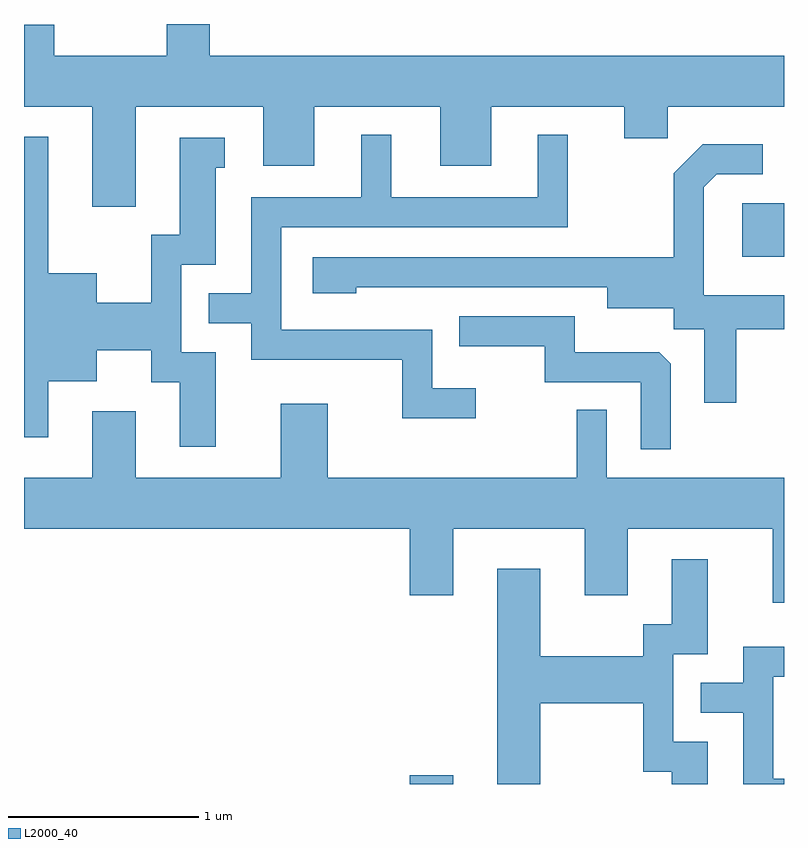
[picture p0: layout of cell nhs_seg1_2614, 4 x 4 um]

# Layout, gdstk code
import gdstk
lib = gdstk.Library(unit=1e-6, precision=1e-09)
def R(c, l, rs):  # rectangles x0, y0, x1, y1
    for r in rs: c.add(gdstk.rectangle(r[:2], r[2:], *l))
def P(c, l, *ps):  # polygons
    for p in ps: c.add(gdstk.Polygon(p, *l))
L2000_40 = (2000, 40)

nhs_seg1_2614 = lib.new_cell('nhs_seg1_2614')
R(nhs_seg1_2614, L2000_40, [(265.641,973.712,265.869,973.759), (267.391,976.486,267.611,976.769)])
P(nhs_seg1_2614, L2000_40, [(264.199,977.276),(264.871,977.276),(264.871,976.966),(265.139,976.966),(265.139,977.276),(265.801,977.276),(265.801,976.966),(266.069,976.966),(266.069,977.276),(266.771,977.276),(266.771,977.111),(266.999,977.111),(266.999,977.276),(267.611,977.276),(267.611,977.544),(264.589,977.544),(264.589,977.712),(264.361,977.712),(264.361,977.544),(263.769,977.544),(263.769,977.709),(263.611,977.709),(263.611,977.276),(263.971,977.276),(263.971,976.751),(264.199,976.751)],
  [(265.988,975.794),(265.759,975.794),(265.759,976.104),(264.964,976.104),(264.964,976.641),(266.474,976.641),(266.474,977.128),(266.316,977.128),(266.316,976.799),(265.544,976.799),(265.544,977.128),(265.386,977.128),(265.386,976.799),(264.806,976.799),(264.806,976.294),(264.583,976.294),(264.583,976.136),(264.806,976.136),(264.806,975.946),(265.601,975.946),(265.601,975.636),(265.988,975.636)],
  [(264.619,975.984),(264.439,975.984),(264.439,976.446),(264.619,976.446),(264.619,976.956),(264.668,976.956),(264.668,977.114),(264.431,977.114),(264.431,976.604),(264.281,976.604),(264.281,976.244),(263.994,976.244),(263.994,976.399),(263.739,976.399),(263.739,977.119),(263.611,977.119),(263.611,975.536),(263.739,975.536),(263.739,975.831),(263.994,975.831),(263.994,975.996),(264.281,975.996),(264.281,975.826),(264.431,975.826),(264.431,975.486),(264.619,975.486)],
  [(267.359,976.106),(267.611,976.106),(267.611,976.284),(267.189,976.284),(267.189,976.854),(267.257,976.921),(267.498,976.921),(267.498,977.079),(267.184,977.079),(267.031,976.927),(267.031,976.484),(265.131,976.484),(265.131,976.296),(265.359,976.296),(265.359,976.326),(266.681,976.326),(266.681,976.216),(267.031,976.216),(267.031,976.106),(267.191,976.106),(267.191,975.718),(267.359,975.718)],
  [(267.014,975.924),(266.954,975.984),(266.509,975.984),(266.509,976.174),(265.903,976.174),(265.903,976.016),(266.351,976.016),(266.351,975.826),(266.856,975.826),(266.856,975.473),(267.014,975.473)],
  [(267.611,975.324),(266.679,975.324),(266.679,975.683),(266.521,975.683),(266.521,975.324),(265.209,975.324),(265.209,975.714),(264.961,975.714),(264.961,975.324),(264.199,975.324),(264.199,975.674),(263.971,975.674),(263.971,975.324),(263.611,975.324),(263.611,975.056),(265.641,975.056),(265.641,974.706),(265.869,974.706),(265.869,975.056),(266.561,975.056),(266.561,974.706),(266.789,974.706),(266.789,975.056),(267.551,975.056),(267.551,974.666),(267.611,974.666)],
  [(266.329,974.136),(266.871,974.136),(266.871,973.776),(267.021,973.776),(267.021,973.712),(267.209,973.712),(267.209,973.934),(267.029,973.934),(267.029,974.396),(267.209,974.396),(267.209,974.894),(267.021,974.894),(267.021,974.554),(266.871,974.554),(266.871,974.384),(266.329,974.384),(266.329,974.844),(266.101,974.844),(266.101,973.712),(266.329,973.712)],
  [(267.611,973.739),(267.554,973.739),(267.554,974.276),(267.611,974.276),(267.611,974.434),(267.396,974.434),(267.396,974.244),(267.173,974.244),(267.173,974.086),(267.396,974.086),(267.396,973.712),(267.611,973.712)])

lib.write_gds('nhs_seg1_2614.gds')
